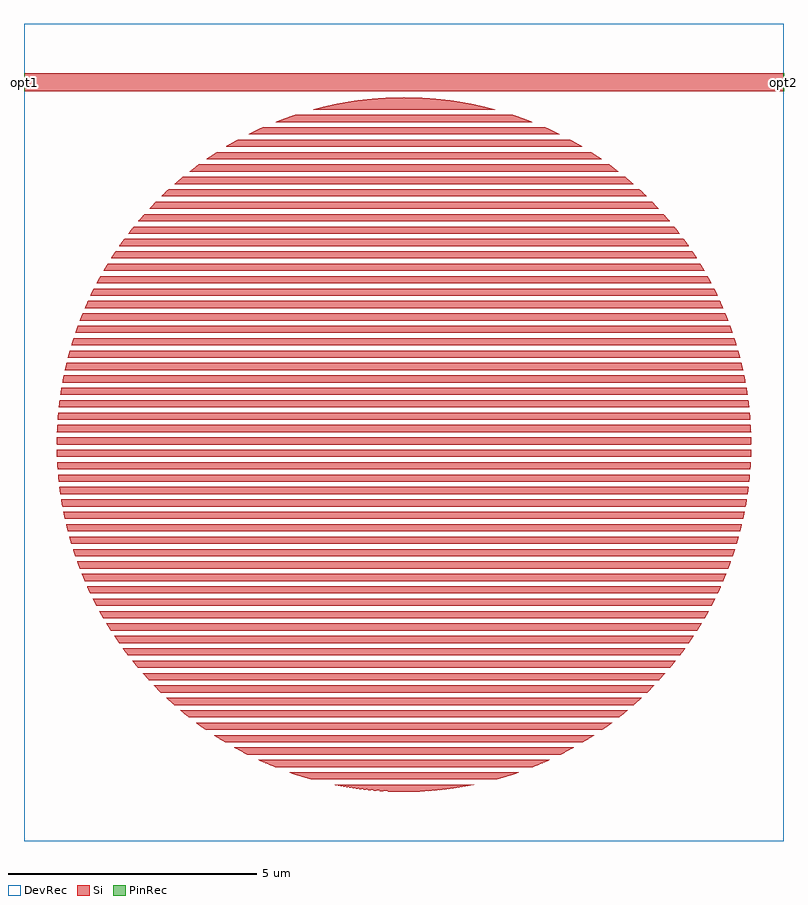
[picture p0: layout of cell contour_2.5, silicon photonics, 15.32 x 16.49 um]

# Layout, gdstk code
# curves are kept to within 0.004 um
import gdstk
lib = gdstk.Library(unit=1e-6, precision=1e-09)
def R(c, l, rs):  # rectangles x0, y0, x1, y1
    for r in rs: c.add(gdstk.rectangle(r[:2], r[2:], *l))
def P(c, l, *ps):  # polygons
    for p in ps: c.add(gdstk.Polygon(p, *l))
Si = (1, 0)
PinRec = (1, 10)
DevRec = (68, 0)

contour_2_5 = lib.new_cell('contour_2.5')
R(contour_2_5, Si, [(-7.65,7.12,7.65,7.49)])
P(contour_2_5, Si, [(-0.003,-6.999),(-0.413,-6.988),(-0.768,-6.958),(-1.068,-6.918),(-1.413,-6.853),(1.418,-6.854),(1.068,-6.918),(0.768,-6.958),(0.413,-6.988)],
  [(-6.433,-2.748),(-6.485,-2.634),(-6.493,-2.603),(6.495,-2.604),(6.433,-2.748)],
  [(-6.833,1.503),(-6.805,1.639),(-6.798,1.648),(6.798,1.648),(6.805,1.639),(6.805,1.621),(6.835,1.509),(6.833,1.503)],
  [(-6.433,2.753),(-6.368,2.898),(6.368,2.898),(6.435,2.754)],
  [(-2.598,-6.498),(-2.838,-6.399),(-2.928,-6.353),(2.933,-6.354),(2.758,-6.434),(2.598,-6.498)],
  [(-6.923,1.003),(-6.925,1.019),(-6.92,1.024),(-6.92,1.054),(-6.915,1.059),(-6.903,1.148),(6.903,1.148),(6.915,1.059),(6.92,1.054),(6.92,1.024),(6.925,1.019),(6.923,1.003)],
  [(-5.353,4.503),(-5.298,4.574),(-5.228,4.648),(5.228,4.648),(5.355,4.506)],
  [(-3.978,5.753),(-3.983,5.754),(-3.978,5.759),(-3.928,5.794),(-3.768,5.898),(3.768,5.898),(3.983,5.754)],
  [(-6.993,0.253),(-6.99,0.371),(-6.983,0.398),(6.983,0.398),(6.99,0.371),(6.99,0.266),(6.995,0.261),(6.993,0.253)],
  [(-3.993,-5.748),(-4.113,-5.664),(-4.188,-5.603),(4.193,-5.604),(3.993,-5.748)],
  [(-6.703,-1.998),(-6.71,-1.991),(-6.74,-1.889),(-6.748,-1.854),(-6.743,-1.853),(6.748,-1.854),(6.72,-1.959),(6.703,-1.998)],
  [(-6.533,2.503),(-6.478,2.648),(6.478,2.648),(6.535,2.506)],
  [(-5.908,-3.748),(-5.998,-3.603),(6,-3.604),(5.908,-3.748)],
  [(-6.953,-0.748),(-6.96,-0.744),(-6.96,-0.701),(-6.965,-0.696),(-6.968,-0.603),(6.97,-0.604),(6.96,-0.744),(6.953,-0.748)],
  [(-4.898,-4.998),(-4.9,-4.996),(-5.043,-4.854),(-5.038,-4.853),(5.038,-4.853),(5.043,-4.854),(4.9,-4.996),(4.898,-4.998)],
  [(-4.888,5.003),(-4.893,5.004),(-4.848,5.049),(-4.738,5.148),(4.738,5.148),(4.893,5.004)],
  [(-6.058,-3.498),(-6.135,-3.369),(-6.138,-3.353),(6.14,-3.354),(6.085,-3.459),(6.058,-3.498)],
  [(-6.993,0.003),(-6.995,0.004),(-6.995,0.146),(-6.993,0.148),(6.993,0.148),(6.995,0.146),(6.995,0.004),(6.993,0.003)],
  [(-3.138,6.253),(-3.023,6.314),(-2.838,6.398),(2.838,6.398),(3.143,6.254)],
  [(-6.193,3.253),(-6.118,3.398),(6.118,3.398),(6.195,3.256)],
  [(-2.583,6.503),(-2.418,6.569),(-2.188,6.648),(2.188,6.648),(2.588,6.504)],
  [(-5.133,4.753),(-4.998,4.898),(4.998,4.898),(5.135,4.754)],
  [(-6.773,-1.748),(-6.78,-1.739),(-6.805,-1.639),(-6.808,-1.603),(6.81,-1.604),(6.78,-1.739),(6.773,-1.748)],
  [(-3.593,6.003),(-3.523,6.049),(-3.343,6.148),(3.343,6.148),(3.598,6.004)],
  [(-6.703,2.003),(-6.69,2.059),(-6.658,2.148),(6.658,2.148),(6.705,2.009),(6.703,2.003)],
  [(-1.833,6.753),(-1.628,6.808),(-1.403,6.858),(-1.218,6.893),(-0.893,6.943),(-0.413,6.988),(-0.003,6.999),(0.413,6.988),(0.893,6.943),(1.353,6.868),(1.628,6.808),(1.838,6.754)],
  [(-5.743,-3.998),(-5.838,-3.853),(5.84,-3.854),(5.743,-3.998)],
  [(-6.623,2.253),(-6.573,2.398),(6.573,2.398),(6.625,2.259),(6.623,2.253)],
  [(-6.053,3.503),(-6.058,3.504),(-6.03,3.554),(-5.968,3.648),(5.968,3.648),(5.985,3.629),(6.058,3.504)],
  [(-4.618,5.253),(-4.623,5.254),(-4.608,5.269),(-4.453,5.398),(4.453,5.398),(4.623,5.254)],
  [(-5.138,-4.748),(-5.21,-4.674),(-5.268,-4.603),(5.27,-4.604),(5.138,-4.748)],
  [(-5.553,4.253),(-5.558,4.254),(-5.443,4.398),(5.443,4.398),(5.558,4.254)],
  [(-6.773,1.753),(-6.74,1.889),(-6.733,1.898),(6.733,1.898),(6.74,1.889),(6.775,1.759),(6.773,1.753)],
  [(-6.978,-0.498),(-6.98,-0.461),(-6.985,-0.456),(-6.988,-0.353),(6.99,-0.354),(6.978,-0.498)],
  [(-6.923,-0.998),(-6.935,-0.949),(-6.943,-0.853),(6.945,-0.854),(6.93,-0.984),(6.923,-0.998)],
  [(-3.603,-5.998),(-3.753,-5.909),(-3.833,-5.853),(3.838,-5.854),(3.603,-5.998)],
  [(-6.323,-2.998),(-6.388,-2.853),(6.39,-2.854),(6.323,-2.998)],
  [(-6.623,-2.248),(-6.63,-2.244),(-6.673,-2.103),(6.675,-2.104),(6.63,-2.244),(6.623,-2.248)],
  [(-4.628,-5.248),(-4.763,-5.129),(-4.788,-5.104),(-4.783,-5.103),(4.788,-5.104),(4.628,-5.248)],
  [(-4.328,-5.498),(-4.443,-5.409),(-4.503,-5.359),(-4.508,-5.354),(-4.503,-5.353),(4.508,-5.354),(4.328,-5.498)],
  [(-6.993,-0.248),(-6.995,-0.246),(-6.995,-0.104),(-6.993,-0.103),(6.993,-0.103),(6.995,-0.104),(6.995,-0.246),(6.993,-0.248)],
  [(-5.358,-4.498),(-5.478,-4.353),(5.48,-4.354),(5.358,-4.498)],
  [(-1.858,-6.748),(-2.158,-6.659),(-2.313,-6.603),(2.318,-6.604),(2.063,-6.689),(1.858,-6.748)],
  [(-6.833,-1.498),(-6.86,-1.391),(-6.863,-1.353),(6.865,-1.354),(6.84,-1.486),(6.833,-1.498)],
  [(-6.198,-3.248),(-6.27,-3.109),(-6.268,-3.103),(6.27,-3.104),(6.198,-3.248)],
  [(-6.978,0.503),(-6.97,0.644),(-6.963,0.648),(6.963,0.648),(6.97,0.644),(6.975,0.531),(6.98,0.526),(6.978,0.503)],
  [(-6.883,-1.248),(-6.895,-1.206),(-6.908,-1.103),(6.91,-1.104),(6.89,-1.234),(6.883,-1.248)],
  [(-3.153,-6.248),(-3.373,-6.134),(-3.418,-6.109),(-3.423,-6.104),(-3.418,-6.103),(3.423,-6.104),(3.153,-6.248)],
  [(-6.883,1.253),(-6.86,1.391),(-6.853,1.398),(6.853,1.398),(6.86,1.391),(6.885,1.261),(6.883,1.253)],
  [(-6.318,3.003),(-6.315,3.019),(-6.248,3.148),(6.248,3.148),(6.32,3.006)],
  [(-4.318,5.503),(-4.323,5.504),(-4.318,5.509),(-4.133,5.648),(4.133,5.648),(4.323,5.504)],
  [(-5.558,-4.248),(-5.668,-4.103),(5.67,-4.104),(5.558,-4.248)],
  [(-6.953,0.753),(-6.955,0.789),(-6.95,0.794),(-6.95,0.834),(-6.938,0.898),(6.938,0.898),(6.95,0.834),(6.95,0.794),(6.955,0.789),(6.953,0.753)],
  [(-5.903,3.753),(-5.885,3.789),(-5.808,3.898),(5.808,3.898),(5.905,3.756)],
  [(-6.533,-2.498),(-6.545,-2.481),(-6.588,-2.353),(6.59,-2.354),(6.54,-2.494),(6.533,-2.498)],
  [(-5.738,4.003),(-5.67,4.104),(-5.633,4.148),(5.633,4.148),(5.74,4.004)])
R(contour_2_5, DevRec, [(-7.65,-7.999,7.65,8.49)])
contour_2_5.add(gdstk.FlexPath([(-7.64,7.305),(-7.66,7.305)], 0.37, ends="flush", simple_path=True, layer=1, datatype=10))  # PinRec
contour_2_5.add(gdstk.FlexPath([(7.64,7.305),(7.66,7.305)], 0.37, ends="flush", simple_path=True, layer=1, datatype=10))  # PinRec
contour_2_5.add(gdstk.Label('opt1', (-7.65,7.305), layer=1, texttype=10))
contour_2_5.add(gdstk.Label('opt2', (7.65,7.305), layer=1, texttype=10))

lib.write_gds('contour_2.5.gds')
